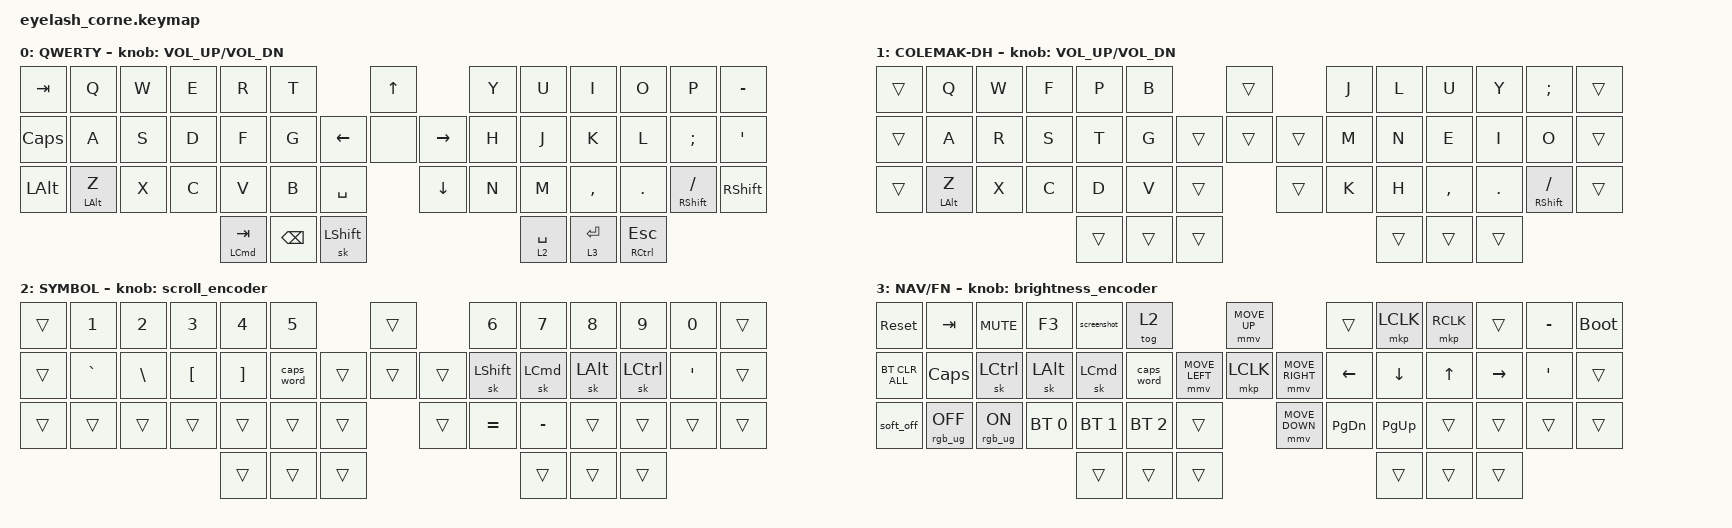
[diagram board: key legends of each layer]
#define ZMK_POINTING_DEFAULT_MOVE_VAL 1200  // 600
#define ZMK_POINTING_DEFAULT_SCRL_VAL 25   // 10

#include <input/processors.dtsi>
#include <zephyr/dt-bindings/input/input-event-codes.h>
#include <behaviors.dtsi>
#include <dt-bindings/zmk/bt.h>
#include <dt-bindings/zmk/keys.h>
#include <dt-bindings/zmk/modifiers.h>
#include <dt-bindings/zmk/pointing.h>
#include <dt-bindings/zmk/rgb.h>

&mmv_input_listener { input-processors = <&zip_xy_scaler 2 1>; };

&msc_input_listener { input-processors = <&zip_scroll_scaler 2 1>; };

&msc {
    acceleration-exponent = <1>;      // 0
    time-to-max-speed-ms = <100>;       // 300
    delay-ms = <0>;                   // 0
};

&mmv {
    time-to-max-speed-ms = <500>;
    acceleration-exponent = <1>;
    trigger-period-ms = <16>;
};

&soft_off { hold-time-ms = <2000>; };

&caps_word {
    continue-list = <UNDERSCORE MINUS BACKSPACE DELETE>;
};

&sk {
    quick-release;
};

/ {
    behaviors {
        ht: ht {
            compatible = "zmk,behavior-hold-tap";
            display-name = "Hold Tap";
            #binding-cells = <2>;
            flavor = "balanced";
            tapping-term-ms = <150>;
            require-prior-idle-ms = <125>;
            bindings = <&kp>, <&kp>;
        };

    };

    macros {
        screenshot: screenshot {
            compatible = "zmk,behavior-macro";
            #binding-cells = <0>;
            bindings = <&kp LG(LS(N4))>;
        };

    };

    rgb_encoder: rgb_encoder {
        compatible = "zmk,behavior-sensor-rotate";
        #sensor-binding-cells = <0>;
        bindings = <&rgb_ug RGB_BRI>, <&rgb_ug RGB_BRD>;
    };

    scroll_encoder: scroll_encoder {
        compatible = "zmk,behavior-sensor-rotate";
        #sensor-binding-cells = <0>;
        bindings = <&msc SCRL_DOWN>, <&msc SCRL_UP>;
        tap-ms = <100>;
    };

    brightness_encoder: brightness_encoder {
        compatible = "zmk,behavior-sensor-rotate";
        #sensor-binding-cells = <0>;
        bindings = <&kp C_BRI_UP>, <&kp C_BRI_DN>;
    };

    combos {
        compatible = "zmk,combos";

        softoff {
            bindings = <&soft_off>;
            key-positions = <1 15 29>;
        };

        to_colemak {
            bindings = <&to 1>;
            key-positions = <44 45>;
            layers = <0>;
        };

        to_qwerty {
            bindings = <&to 0>;
            key-positions = <44 45>;
            layers = <1>;
        };
    };

    keymap {
        compatible = "zmk,keymap";

        default_layer {
            display-name = "QWERTY";
            bindings = <
&kp TAB         &kp Q  &kp W  &kp E     &kp R     &kp T                            &kp UP               &kp Y      &kp U        &kp I      &kp O    &kp P     &kp MINUS
&kp CAPS        &kp A          &kp S  &kp D     &kp F     &kp G                  &kp LEFT   &none    &kp RIGHT   &kp H      &kp J        &kp K      &kp L    &kp SEMI  &kp SQT
&kp LALT  &ht LALT Z  &kp X  &kp C     &kp V     &kp B     &kp SPACE               &kp DOWN             &kp N      &kp M        &kp COMMA  &kp DOT  &ht RSHFT FSLH  &kp RSHFT
                              &ht LCMD TAB  &kp BSPC  &sk LSHFT                                           &lt 2 SPACE  &lt 3 ENTER  &ht RCTRL ESC
            >;

            sensor-bindings = <&inc_dec_kp C_VOLUME_UP C_VOL_DN>;
        };

        colemak_layer {
            display-name = "COLEMAK-DH";
            bindings = <
&trans  &kp Q  &kp W  &kp F  &kp P  &kp B                       &trans                       &kp J  &kp L  &kp U      &kp Y    &kp SEMI          &trans
&trans  &kp A  &kp R  &kp S  &kp T  &kp G             &trans  &trans  &trans             &kp M  &kp N  &kp E      &kp I    &kp O             &trans
&trans  &ht LALT Z  &kp X  &kp C  &kp D  &kp V  &trans              &trans                       &kp K  &kp H  &kp COMMA  &kp DOT  &ht RSHFT FSLH  &trans
                              &trans  &trans  &trans                                           &trans  &trans  &trans
            >;

            sensor-bindings = <&inc_dec_kp C_VOLUME_UP C_VOL_DN>;
        };

        symbol_layer {
            display-name = "SYMBOL";
            bindings = <
&trans  &kp N1     &kp N2    &kp N3    &kp N4    &kp N5                        &trans                     &kp N6       &kp N7     &kp N8    &kp N9     &kp N0   &trans
&trans  &kp GRAVE  &kp BSLH  &kp LBKT  &kp RBKT  &caps_word         &trans  &trans  &trans              &sk LSHFT    &sk LCMD   &sk LALT  &sk LCTRL  &kp SQT  &trans
&trans  &trans     &trans    &trans    &trans    &trans  &trans             &trans                     &kp EQUAL    &kp MINUS  &trans     &trans     &trans   &trans
                                      &trans    &trans  &trans                                                    &trans     &trans     &trans
            >;

            sensor-bindings = <&scroll_encoder>;
        };

        function_layer {
            display-name = "NAV/FN";
            bindings = <
&sys_reset      &kp TAB       &kp C_MUTE      &kp F3         &screenshot       &tog 2                                 &mmv MOVE_UP                     &trans       &mkp LCLK  &mkp RCLK  &trans     &kp MINUS  &bootloader
&bt BT_CLR_ALL  &kp CAPS      &sk LCTRL       &sk LALT       &sk LCMD          &caps_word              &mmv MOVE_LEFT  &mkp LCLK  &mmv MOVE_RIGHT  &kp LEFT     &kp DOWN    &kp UP     &kp RIGHT  &kp SQT    &trans
&soft_off       &rgb_ug RGB_OFF  &rgb_ug RGB_ON  &bt BT_SEL 0  &bt BT_SEL 1  &bt BT_SEL 2  &trans                  &mmv MOVE_DOWN                   &kp PG_DN    &kp PG_UP   &trans     &trans     &trans     &trans
                                                &trans          &trans          &trans                                                        &trans       &trans      &trans
            >;

            sensor-bindings = <&brightness_encoder>;
        };
    };
};
